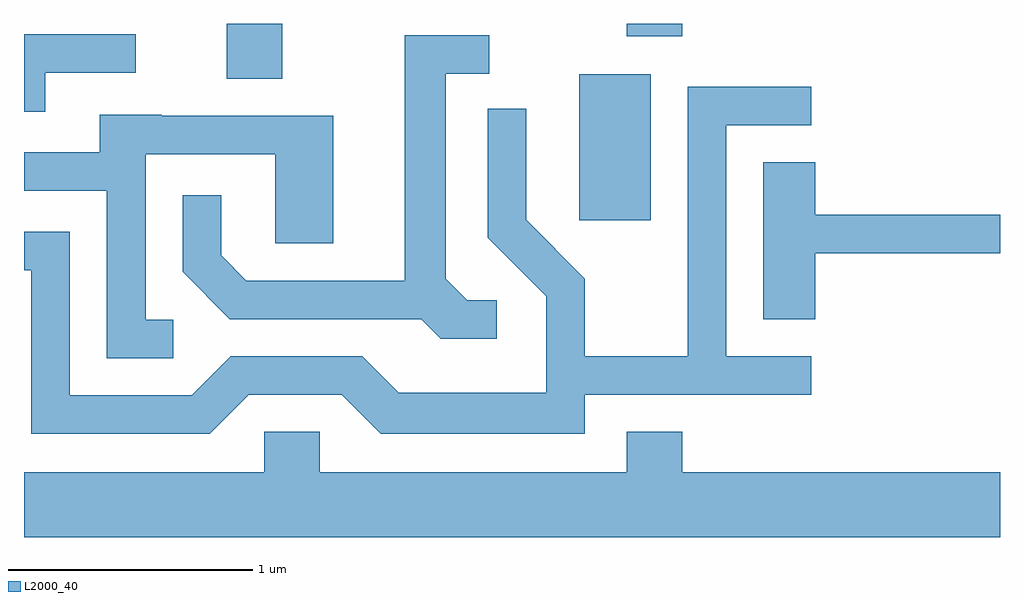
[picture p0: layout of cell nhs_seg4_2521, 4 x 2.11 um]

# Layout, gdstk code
import gdstk
lib = gdstk.Library(unit=1e-6, precision=1e-09)
def R(c, l, rs):  # rectangles x0, y0, x1, y1
    for r in rs: c.add(gdstk.rectangle(r[:2], r[2:], *l))
def P(c, l, *ps):  # polygons
    for p in ps: c.add(gdstk.Polygon(p, *l))
L2000_40 = (2000, 40)

nhs_seg4_2521 = lib.new_cell('nhs_seg4_2521')
R(nhs_seg4_2521, L2000_40, [(261.886,1267.176,262.179,1267.774), (260.441,1267.756,260.669,1267.982), (262.081,1267.931,262.309,1267.982)])
P(nhs_seg4_2521, L2000_40, [(259.699,1267.781),(260.068,1267.781),(260.068,1267.939),(259.611,1267.939),(259.611,1267.621),(259.699,1267.621)],
  [(261.548,1266.849),(261.427,1266.849),(261.339,1266.937),(261.339,1267.776),(261.517,1267.776),(261.517,1267.934),(261.171,1267.934),(261.171,1266.929),(260.522,1266.929),(260.419,1267.032),(260.419,1267.278),(260.261,1267.278),(260.261,1266.964),(260.454,1266.771),(261.239,1266.771),(261.319,1266.691),(261.548,1266.691)],
  [(260.532,1266.461),(260.914,1266.461),(261.074,1266.301),(261.909,1266.301),(261.909,1266.461),(262.838,1266.461),(262.838,1266.619),(262.489,1266.619),(262.489,1267.566),(262.838,1267.566),(262.838,1267.724),(262.331,1267.724),(262.331,1266.619),(261.909,1266.619),(261.909,1266.937),(261.669,1267.177),(261.669,1267.633),(261.511,1267.633),(261.511,1267.104),(261.751,1266.864),(261.751,1266.469),(261.147,1266.469),(260.997,1266.619),(260.459,1266.619),(260.299,1266.459),(259.799,1266.459),(259.799,1267.129),(259.611,1267.129),(259.611,1266.971),(259.641,1266.971),(259.641,1266.301),(260.372,1266.301)],
  [(260.223,1266.769),(260.109,1266.769),(260.109,1267.446),(260.641,1267.446),(260.641,1267.081),(260.879,1267.081),(260.879,1267.604),(260.175,1267.604),(260.175,1267.609),(259.921,1267.609),(259.921,1267.454),(259.611,1267.454),(259.611,1267.296),(259.951,1267.296),(259.951,1266.611),(260.223,1266.611)],
  [(262.854,1267.041),(263.611,1267.041),(263.611,1267.199),(262.854,1267.199),(262.854,1267.414),(262.641,1267.414),(262.641,1266.771),(262.854,1266.771)],
  [(263.611,1266.144),(262.309,1266.144),(262.309,1266.309),(262.081,1266.309),(262.081,1266.144),(260.824,1266.144),(260.824,1266.309),(260.596,1266.309),(260.596,1266.144),(259.611,1266.144),(259.611,1265.876),(263.611,1265.876)])

lib.write_gds('nhs_seg4_2521.gds')
